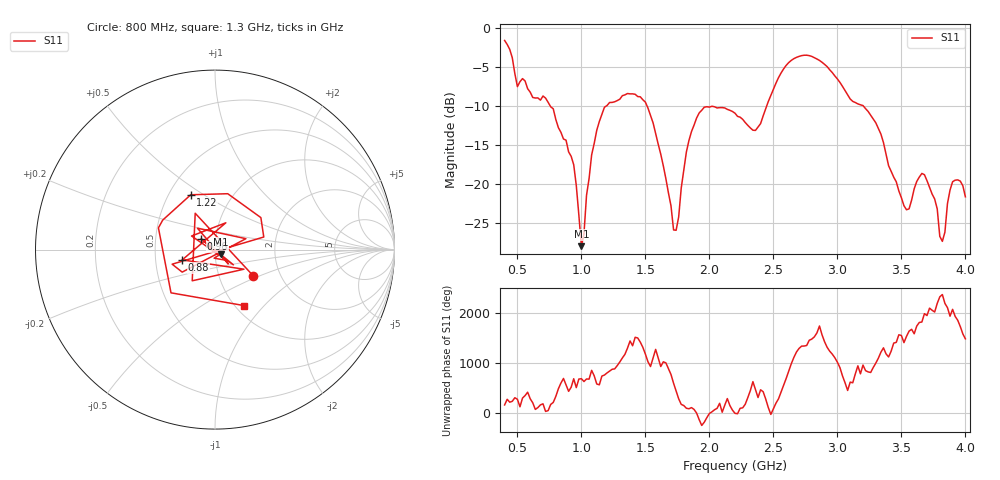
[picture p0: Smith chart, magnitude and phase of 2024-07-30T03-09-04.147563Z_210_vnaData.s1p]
!Created with skrf (http://scikit-rf.org).
# Hz S RI R 50.0
!freq ReS11 ImS11
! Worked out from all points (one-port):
!   181 points, 400 MHz to 4 GHz, reference 50 ohm
!   lowest |S11| = -28.0 dB at 1 GHz (marker M1), VSWR 1.08, Z = 53.1 - j2.67 ohm
!   |S11| at or under -10 dB: 757.5 MHz to 1.192 GHz (434.5 MHz wide, 44.6 % of centre); 1.514 GHz to 2.447 GHz (933.2 MHz wide, 47.1 % of centre); 3.204 GHz to end of sweep
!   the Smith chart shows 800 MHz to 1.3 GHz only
!   S11 on the Smith chart (normalised r, x): 800 MHz: 1.46, -0.46; 880 MHz: 0.69, -0.08; 960 MHz: 0.85, +0.10; 1.22 GHz: 0.64, +0.44; 1.3 GHz: 1.09, -0.78
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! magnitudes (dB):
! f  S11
! 400 MHz  -1.6
! 500 MHz  -7.5
! 800 MHz  -11.7
! 860 MHz  -14.2
! 880 MHz  -14.4
! 960 MHz  -20.2
! 1 GHz  -28.0
! 1.08 GHz  -16.2
! 1.22 GHz  -9.5
! 1.3 GHz  -9.1
! 1.5 GHz  -9.5
! 1.62 GHz  -16.2
! 1.72 GHz  -25.9
! 1.76 GHz  -24.2
! 1.82 GHz  -15.9
! 1.92 GHz  -10.9
! 2.2 GHz  -10.9
! 2.36 GHz  -13.1
! 2.66 GHz  -3.9
! 2.86 GHz  -4.1
! 3.1 GHz  -9.1
! 3.3 GHz  -12.1
! 3.56 GHz  -23.2
! 3.68 GHz  -18.8
! 3.76 GHz  -21.9
! 3.82 GHz  -27.3
! 3.9 GHz  -19.7
! 4 GHz  -21.6
